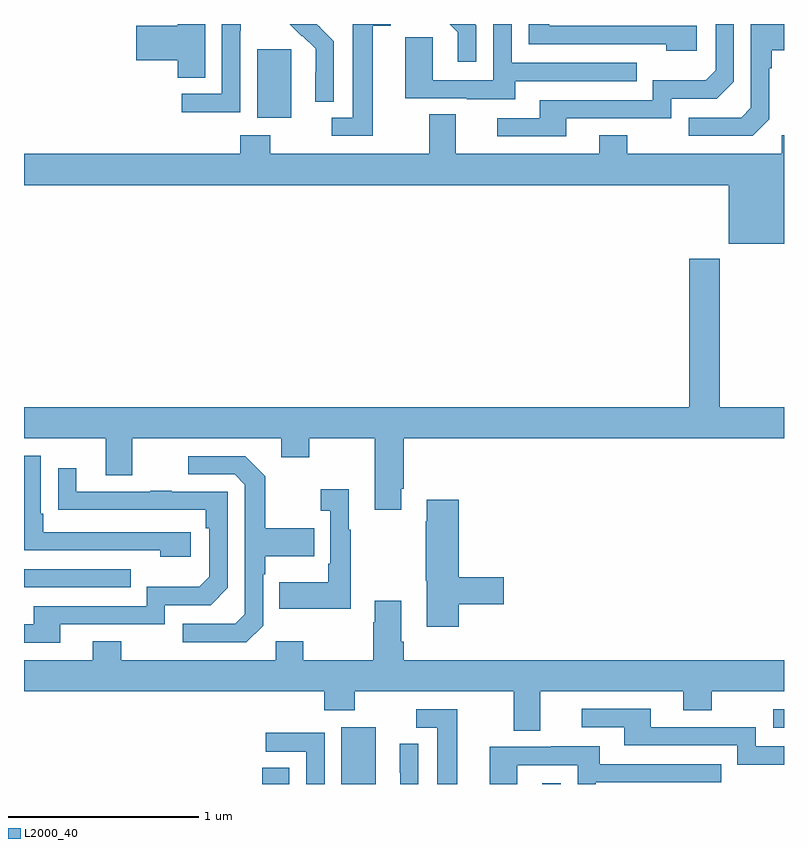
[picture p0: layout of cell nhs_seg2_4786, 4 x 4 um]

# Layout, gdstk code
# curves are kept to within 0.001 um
import gdstk
lib = gdstk.Library(unit=1e-6, precision=1e-09)
def R(c, l, rs):  # rectangles x0, y0, x1, y1
    for r in rs: c.add(gdstk.rectangle(r[:2], r[2:], *l))
def P(c, l, *ps):  # polygons
    for p in ps: c.add(gdstk.Polygon(p, *l))
L2000_40 = (2000, 40)

nhs_seg2_4786 = lib.new_cell('nhs_seg2_4786')
R(nhs_seg2_4786, L2000_40, [(372.254,661.8,372.397,661.886), (372.671,661.8,372.85,662.098), (373.727,661.8,373.824,661.804), (374.943,662.097,375,662.193), (371,662.835,371.561,662.931), (372.227,665.306,372.406,665.667)])
P(nhs_seg2_4786, L2000_40, [(372.138,665.764),(372.141,665.764),(372.141,665.8),(372.042,665.8),(372.042,665.433),(371.829,665.433),(371.829,665.335),(372.138,665.335)],
  [(371.953,665.8),(371.81,665.8),(371.81,665.792),(371.592,665.792),(371.592,665.609),(371.81,665.609),(371.81,665.518),(371.953,665.518)],
  [(374.922,665.298),(374.922,665.567),(374.935,665.567),(374.935,665.663),(375,665.663),(375,665.8),(374.826,665.8),(374.826,665.358),(374.775,665.307),(374.499,665.307),(374.499,665.211),(374.835,665.211)],
  [(373.585,665.499),(374.225,665.499),(374.225,665.595),(373.566,665.595),(373.566,665.8),(373.47,665.8),(373.47,665.505),(373.152,665.505),(373.152,665.729),(373.007,665.729),(373.007,665.409),(373.331,665.409),(373.331,665.405),(373.585,665.405)],
  [(373.855,665.304),(374.406,665.304),(374.406,665.406),(374.646,665.406),(374.736,665.496),(374.736,665.8),(374.64,665.8),(374.64,665.556),(374.587,665.503),(374.31,665.503),(374.31,665.4),(373.715,665.4),(373.715,665.304),(373.491,665.304),(373.491,665.208),(373.855,665.208)],
  [(372.835,665.792),(372.931,665.792),(372.931,665.8),(372.731,665.8),(372.731,665.307),(372.621,665.307),(372.621,665.211),(372.835,665.211)],
  [(373.38,665.794),(373.374,665.8),(373.24,665.8),(373.283,665.757),(373.283,665.601),(373.38,665.601)],
  [(372.63,665.71),(372.557,665.783),(372.558,665.784),(372.542,665.8),(372.398,665.8),(372.462,665.736),(372.465,665.739),(372.536,665.669),(372.536,665.546),(372.534,665.546),(372.534,665.392),(372.63,665.392)],
  [(374.542,665.79),(373.765,665.79),(373.765,665.8),(373.656,665.8),(373.656,665.694),(374.381,665.694),(374.381,665.66),(374.542,665.66)],
  [(375,665.215),(374.988,665.215),(374.988,665.116),(374.175,665.116),(374.175,665.215),(374.027,665.215),(374.027,665.116),(373.273,665.116),(373.273,665.324),(373.133,665.324),(373.133,665.116),(372.297,665.116),(372.297,665.215),(372.137,665.215),(372.137,665.116),(371,665.116),(371,664.952),(374.708,664.952),(374.708,664.643),(375,664.643)],
  [(372.985,663.355),(372.998,663.355),(372.998,663.62),(375,663.62),(375,663.784),(374.661,663.784),(374.661,664.564),(374.501,664.564),(374.501,663.784),(371,663.784),(371,663.62),(371.429,663.62),(371.429,663.426),(371.569,663.426),(371.569,663.62),(372.353,663.62),(372.353,663.521),(372.501,663.521),(372.501,663.62),(372.845,663.62),(372.845,663.243),(372.985,663.243)],
  [(371.878,663.126),(371.101,663.126),(371.101,663.223),(371.088,663.223),(371.088,663.528),(371,663.528),(371,663.03),(371.717,663.03),(371.717,662.996),(371.878,662.996)],
  [(372.258,662.634),(372.258,662.903),(372.271,662.903),(372.271,662.999),(372.527,662.999),(372.527,663.147),(372.271,663.147),(372.271,663.419),(372.165,663.525),(371.865,663.525),(371.865,663.429),(372.108,663.429),(372.162,663.375),(372.162,662.694),(372.111,662.643),(371.835,662.643),(371.835,662.547),(372.171,662.547)],
  [(371.191,662.64),(371.742,662.64),(371.742,662.742),(371.982,662.742),(372.072,662.832),(372.072,663.339),(371.777,663.339),(371.777,663.344),(371.665,663.344),(371.665,663.339),(371.275,663.339),(371.275,663.463),(371.179,663.463),(371.179,663.244),(371.956,663.243),(371.956,663.146),(371.976,663.146),(371.976,662.892),(371.923,662.839),(371.646,662.839),(371.646,662.736),(371.051,662.736),(371.051,662.64),(371,662.64),(371,662.544),(371.191,662.544)],
  [(372.721,663.139),(372.709,663.139),(372.709,663.352),(372.561,663.352),(372.561,663.239),(372.612,663.239),(372.612,662.959),(372.6,662.959),(372.6,662.863),(372.343,662.863),(372.343,662.723),(372.721,662.723)],
  [(373.289,662.746),(373.525,662.746),(373.525,662.888),(373.289,662.888),(373.289,663.295),(373.121,663.295),(373.121,663.182),(373.114,663.182),(373.114,662.871),(373.121,662.871),(373.121,662.628),(373.289,662.628)],
  [(373.717,662.288),(374.471,662.288),(374.471,662.189),(374.619,662.189),(374.619,662.288),(375,662.288),(375,662.452),(372.998,662.452),(372.998,662.548),(372.985,662.548),(372.985,662.764),(372.845,662.764),(372.845,662.651),(372.838,662.651),(372.838,662.452),(372.471,662.452),(372.471,662.551),(372.324,662.551),(372.324,662.452),(371.511,662.452),(371.511,662.551),(371.363,662.551),(371.363,662.452),(371,662.452),(371,662.288),(372.581,662.288),(372.581,662.189),(372.741,662.189),(372.741,662.288),(373.577,662.288),(373.577,662.08),(373.717,662.08)],
  [(375,661.998),(374.85,661.998),(374.85,662.1),(374.299,662.1),(374.299,662.196),(373.935,662.196),(373.935,662.1),(374.159,662.1),(374.159,662.004),(374.754,662.004),(374.754,661.901),(375,661.901)],
  [(373.279,662.193),(373.065,662.193),(373.065,662.097),(373.175,662.097),(373.175,661.8),(373.279,661.8)],
  [(372.582,662.07),(372.273,662.07),(372.273,661.971),(372.486,661.971),(372.486,661.8),(372.582,661.8)],
  [(373.074,662.012),(372.978,662.012),(372.978,661.858),(372.98,661.858),(372.98,661.8),(373.074,661.8)],
  [(373.596,661.899),(373.914,661.899),(373.914,661.8),(374.01,661.8),(374.01,661.809),(374.669,661.809),(374.669,661.905),(374.029,661.905),(374.029,661.999),(373.775,661.999),(373.775,661.995),(373.451,661.995),(373.451,661.8),(373.596,661.8)])

lib.write_gds('nhs_seg2_4786.gds')
